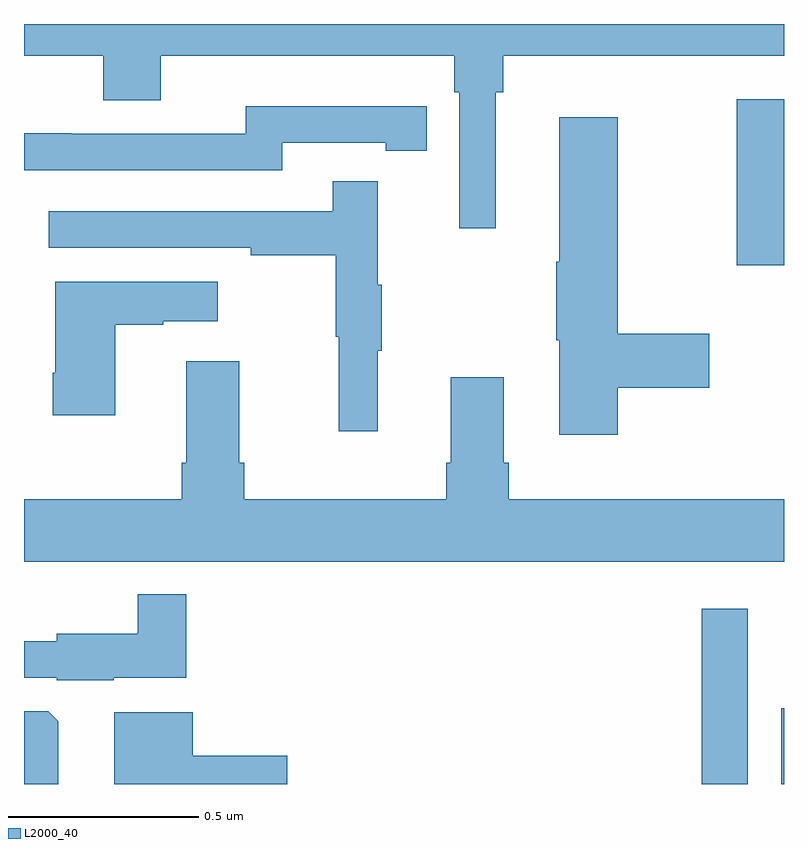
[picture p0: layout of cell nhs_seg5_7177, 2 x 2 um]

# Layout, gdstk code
import gdstk
lib = gdstk.Library(unit=1e-6, precision=1e-09)
def R(c, l, rs):  # rectangles x0, y0, x1, y1
    for r in rs: c.add(gdstk.rectangle(r[:2], r[2:], *l))
def P(c, l, *ps):  # polygons
    for p in ps: c.add(gdstk.Polygon(p, *l))
L2000_40 = (2000, 40)

nhs_seg5_7177 = lib.new_cell('nhs_seg5_7177')
R(nhs_seg5_7177, L2000_40, [(206.784,898.799,206.905,899.26), (206.993,898.799,207,898.999), (206.876,900.164,207,900.601)])
P(nhs_seg5_7177, L2000_40, [(206.242,900.62),(206.261,900.62),(206.261,900.716),(207,900.716),(207,900.799),(205,900.799),(205,900.716),(205.208,900.716),(205.208,900.599),(205.36,900.599),(205.36,900.716),(206.132,900.716),(206.132,900.62),(206.145,900.62),(206.145,900.261),(206.242,900.261)],
  [(205.68,900.486),(205.952,900.486),(205.952,900.466),(206.06,900.466),(206.06,900.582),(205.952,900.582),(205.952,900.583),(205.584,900.583),(205.584,900.51),(205.124,900.51),(205.124,900.512),(205,900.512),(205,900.414),(205.68,900.414)],
  [(206.562,899.842),(206.803,899.842),(206.803,899.984),(206.562,899.984),(206.562,900.553),(206.408,900.553),(206.408,900.173),(206.401,900.173),(206.401,899.967),(206.408,899.967),(206.408,899.718),(206.562,899.718)],
  [(205.931,899.939),(205.942,899.939),(205.942,900.113),(205.931,900.113),(205.931,900.385),(205.813,900.385),(205.813,900.306),(205.065,900.306),(205.065,900.21),(205.597,900.21),(205.597,900.19),(205.821,900.19),(205.821,899.976),(205.828,899.976),(205.828,899.727),(205.931,899.727)],
  [(205.24,900.007),(205.367,900.007),(205.367,900.017),(205.51,900.017),(205.51,900.121),(205.082,900.121),(205.082,899.881),(205.075,899.881),(205.075,899.769),(205.24,899.769)],
  [(207,899.548),(206.276,899.548),(206.276,899.644),(206.263,899.644),(206.263,899.869),(206.123,899.869),(206.123,899.644),(206.111,899.644),(206.111,899.548),(205.58,899.548),(205.58,899.644),(205.567,899.644),(205.567,899.911),(205.427,899.911),(205.427,899.644),(205.415,899.644),(205.415,899.548),(205,899.548),(205,899.384),(207,899.384)],
  [(205.236,899.078),(205.427,899.078),(205.427,899.299),(205.299,899.299),(205.299,899.194),(205.086,899.194),(205.086,899.175),(205,899.175),(205,899.079),(205.086,899.079),(205.086,899.072),(205.236,899.072)],
  [(205.09,898.964),(205.064,898.99),(205,898.99),(205,898.799),(205.09,898.799)],
  [(205.693,898.874),(205.444,898.874),(205.444,898.988),(205.238,898.988),(205.238,898.799),(205.693,898.799)])

lib.write_gds('nhs_seg5_7177.gds')
